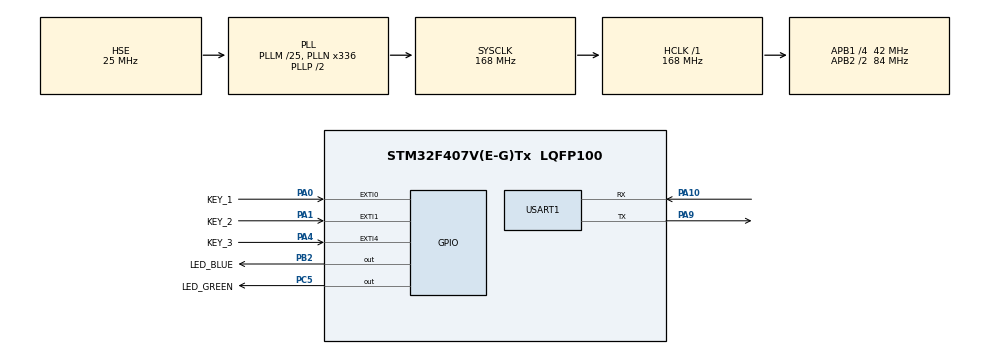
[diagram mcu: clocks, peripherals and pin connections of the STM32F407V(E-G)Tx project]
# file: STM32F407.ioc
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Mcu.Family=STM32F4
Mcu.Name=STM32F407V(E-G)Tx
Mcu.Package=LQFP100
NVIC.EXTI0_IRQn=true\:0\:0\:false\:false\:true\:true\:true\:true
NVIC.EXTI1_IRQn=true\:0\:0\:false\:false\:true\:true\:true\:true
NVIC.EXTI4_IRQn=true\:0\:0\:false\:false\:true\:true\:true\:true
NVIC.PriorityGroup=NVIC_PRIORITYGROUP_4
PA0-WKUP.GPIO_Label=KEY_1
PA0-WKUP.GPIO_ModeDefaultEXTI=GPIO_MODE_IT_RISING
PA0-WKUP.GPIO_PuPd=GPIO_PULLDOWN
PA0-WKUP.Signal=GPXTI0
PA1.GPIO_Label=KEY_2
PA1.GPIO_ModeDefaultEXTI=GPIO_MODE_IT_FALLING
PA1.GPIO_PuPd=GPIO_PULLUP
PA1.Signal=GPXTI1
PA10.Mode=Asynchronous
PA10.Signal=USART1_RX
PA13.Mode=Serial_Wire
PA13.Signal=SYS_JTMS-SWDIO
PA14.Mode=Serial_Wire
PA14.Signal=SYS_JTCK-SWCLK
PA4.GPIO_Label=KEY_3
PA4.GPIO_ModeDefaultEXTI=GPIO_MODE_IT_FALLING
PA4.GPIO_PuPd=GPIO_PULLUP
PA4.Signal=GPXTI4
PA9.Mode=Asynchronous
PA9.Signal=USART1_TX
PB2.GPIO_Label=LED_BLUE
PB2.Signal=GPIO_Output
PB8.Signal=CAN1_RX
PB9.Signal=CAN1_TX
PC13-ANTI_TAMP.Signal=RTC_AF1
PC14-OSC32_IN.Mode=LSE-External-Oscillator
PC14-OSC32_IN.Signal=RCC_OSC32_IN
PC15-OSC32_OUT.Mode=LSE-External-Oscillator
PC15-OSC32_OUT.Signal=RCC_OSC32_OUT
PC5.GPIO_Label=LED_GREEN
PC5.Signal=GPIO_Output
PH0-OSC_IN.Mode=HSE-External-Oscillator
PH0-OSC_IN.Signal=RCC_OSC_IN
PH1-OSC_OUT.Mode=HSE-External-Oscillator
PH1-OSC_OUT.Signal=RCC_OSC_OUT
ProjectManager.HeapSize=0x200
ProjectManager.StackSize=0x1000
ProjectManager.TargetToolchain=MDK-ARM V5.32
RCC.48MHZClocksFreq_Value=84000000
RCC.AHBFreq_Value=168000000
RCC.APB1CLKDivider=RCC_HCLK_DIV4
RCC.APB1Freq_Value=42000000
RCC.APB1TimFreq_Value=84000000
RCC.APB2CLKDivider=RCC_HCLK_DIV2
RCC.APB2Freq_Value=84000000
RCC.APB2TimFreq_Value=168000000
RCC.CortexFreq_Value=168000000
RCC.HCLKFreq_Value=168000000
RCC.HSE_VALUE=25000000
RCC.HSI_VALUE=16000000
RCC.PLLM=25
RCC.PLLN=336
RCC.PLLSourceVirtual=RCC_PLLSOURCE_HSE
RCC.RCC_RTC_Clock_SourceVirtual=RCC_RTCCLKSOURCE_LSE
RCC.RCC_RTC_Clock_Source_FROM_HSE=RCC_RTCCLKSOURCE_HSE_DIV25
RCC.SYSCLKFreq_VALUE=168000000
RCC.SYSCLKSource=RCC_SYSCLKSOURCE_PLLCLK
RCC.VCOOutputFreq_Value=336000000
USART1.VirtualMode=VM_ASYNC
VP_RTC_VS_RTC_Activate.Mode=RTC_Enabled
VP_RTC_VS_RTC_Calendar.Mode=RTC_Calendar
board=custom

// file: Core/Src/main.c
/* USER CODE BEGIN Header */
/***********************************************************************************************************************************
 ** 【代码编写】  魔女开发板团队
 ** 【淘    宝】  魔女开发板       https://demoboard.taobao.com
 ***********************************************************************************************************************************
 ** 【实验名称】  STM32F407 RTC实时时钟 —— 日历设置 + 闹钟配置 + 串口时间校准
 **
 ** 【适用平台】  STM32F407 + keil5 + HAL库
 **
 ** 【 CubeMX 】  1- 开启RTC，启用LSE外部晶振（32.768kHz）；
 **               2- 开启USART1，用于调试打印与时间字符串接收；
 **
 ** 【功能说明】  本工程实现 RTC 完整功能：
 **               1- 支持手动设置年月日时分秒星期，带参数合法性校验；
 **               2- 支持串口发送固定格式时间字符串，自动解析并更新RTC；
 **               3- 每秒自动打印当前时间、日期、星期；
 **               4- 按键中断触发，可扩展闹钟、低功耗唤醒功能；
 **
 ** 【时间格式】  发送格式示例：2026年03月05日15时45分00秒星期四
 **               严格按照：年-月-日-时-分-秒-星期 顺序发送
 **
 ** 【代码使用】  1- 上电后自动打印当前时间；
 **               2- 串口助手发送时间字符串，自动校准RTC；
 **               3- LED(PC5) 500ms闪烁一次，表示系统正常运行；
 **               4- 按键KEY1/KEY2/KEY3触发中断，可自定义功能；
 **
 ** 【划 重 点】  1- RTC读写必须遵循：先写时间 → 后写日期；
 **               2- RTC读取必须遵循：先读时间 → 后读日期；
 **               3- CubeMX默认年份基准为2000年，使用时需偏移计算；
 **               4- 串口时间解析严格匹配格式，错一个字符都会解析失败；
 **               5- LSE晶振是RTC精准计时的关键，务必开启外部低速晶振；
 **
 *******************************************************************************/
/* USER CODE END Header */
#include "main.h"
#include "rtc.h"
#include "usart.h"
#include "gpio.h"

/* USER CODE BEGIN Includes */

#include "bsp_UART.h"            // 串口通信底层驱动文件; 已重写好初始化、收发，调用函数即可使用串口

/* USER CODE END Includes */

void SystemClock_Config(void);

/* USER CODE BEGIN 0 */

/******************************************************************************
 * 函  数： RTC_SetNewData
 * 功  能： 设置RTC的时间和日期（严格遵循“先时间后日期”的操作顺序）
 * 说  明： 1. 操作前需解锁后备域；
 *          2. CubeMX默认以2000年为RTC年份基准，需做偏移处理；
 *          3. 中国不实行夏令时，相关参数固定为NONE；
 * 参  数： uint16_t  year    实际年份（2000-2127，超出范围则报错）
 *          uint8_t   month   月份（1-12）
 *          uint8_t   date    日期（1-31）
 *          uint8_t   hours   小时（0-23，24小时制）
 *          uint8_t   minutes 分钟（0-59）
 *          uint8_t   seconds 秒数（0-59）
 *          uint8_t   weekday 星期（1=周一，2=周二，…，7=周日）
 * 返回值： 无
 ******************************************************************************/
void RTC_SetNewData(uint16_t year, uint8_t month, uint8_t date, uint8_t hours, uint8_t minutes, uint8_t seconds, uint8_t weekday)
{
    /* 定义RTC时间、日期结构体 */
    RTC_TimeTypeDef sTime = {0};                                     // 时间结构体 (时/分/秒)
    RTC_DateTypeDef sDate = {0};                                     // 日期结构体 (年/月/日/星期)
    /* 检查参数合法性 */
    if ((year < 2000) || (year > 2127) || (month < 1) || (month > 12) || (date < 1) || (date > 31) ||
            (hours > 23) || (minutes > 59) || (seconds > 59) || (weekday < 1) || (weekday > 7))
    {
        printf("日历配置函数：参数非法，退出本次设置。\r\n");        // 打印 非法参数
        return;                                                      // 非法参数直接退出，不执行后续配置
    }
    /* 配置时间; RTC强制要求：先写时间，后写日期 */
    sTime.Hours = hours;                                             // 时; 注意小时的格式，检查MX_RTC_Init()函数里的HourFormat参数，有24小时、12小时两种格式
    sTime.Minutes = minutes;                                         // 分
    sTime.Seconds = seconds;                                         // 秒
    sTime.DayLightSaving = RTC_DAYLIGHTSAVING_NONE;                  // 关闭夏令时。中国不实行夏令时，因此固定设置为NONE
    sTime.StoreOperation = RTC_STOREOPERATION_RESET;                 // 夏令时配套参数，固定为RESET
    if (HAL_RTC_SetTime(&hrtc, &sTime, RTC_FORMAT_BIN) != HAL_OK)    // 设置时间; RTC要求：先设置时间（必须顺序）
    {
        printf("RTC时间写入失败! \n");
        return;                                                      // 直接退出，不执行后续配置
    }
    /* 配置日期; 必须在时间写入后执行 */
    sDate.WeekDay = weekday;                                         // 星期：1-一、2-二、3-三、4-四、5-五、6-六、7-日
    sDate.Month = month;                                             // 月
    sDate.Date = date;                                               // 日
    sDate.Year = year - 2000;                                        // 年份偏移; CubeMX默认2000为基准, 需减去2000
    if (HAL_RTC_SetDate(&hrtc, &sDate, RTC_FORMAT_BIN) != HAL_OK)    // RTC要求：后设置日期（必须顺序）
    {
        printf("RTC日期写入失败! \n");
        return;                                                      // 直接退出，不执行后续配置
    }
    /* 写入标记值到备份寄存器，标记已配置过日历 */
    HAL_RTCEx_BKUPWrite(&hrtc, RTC_BKP_DR1, 0x01);                   // 备份寄存器1写入标志值。用于下次上电时判断是否已设置日历; 网上很多示例会用类似0x5A5A的值，原理是一样的，但0x5A5A容易被误解有特殊作用
    /* 打印提示 */
    printf("\nRTC日历数据写入成功！\r\n");                           // 打印 提示
}

/******************************************************************************
 * 函  数： RTC_ParseTimeString
 * 功  能： 解析固定格式的时间字符串，提取有效数据并更新RTC时间
 * 格  式： "YYYY年MM月DD日HH时MM分SS秒星期X"（如：2026年02月04日19时11分30秒星期三）
 * 约  定： 1. 字符串无空格、无换行，字段顺序/单位不可修改；
 *          2. 年4位、月/日/时/分/秒各2位，星期为中文单字（一/二/…/日）；
 *          3. 星期映射：一=1、二=2、三=3、四=4、五=5、六=6、日=7；
 * 参  数： const char* timeStr  待解析的时间字符串（串口接收的原始数据）
 * 返回值： 无
 * 异常处理：空指针/格式错误/星期非法 → 触发提示并退出，不执行更新
 ******************************************************************************/
void RTC_ParseTimeString(const char* timeStr)
{
    /* 空指针校验，避免程序崩溃 */
    if (timeStr == NULL)
    {
        printf("解释失败：输入字符串为空！ \r\n");      // 空字符串直接退出
        return;
    }
    /* 定义变量存储解析结果 */
    uint16_t year = 0;        // 年（4位，如2026）
    uint8_t month = 0;        // 月（2位，01-12）
    uint8_t date = 0;         // 日（2位，01-31）
    uint8_t hours = 0;        // 时（2位，00-23）
    uint8_t minutes = 0;      // 分（2位，00-59）
    uint8_t seconds = 0;      // 秒（2位，00-59）
    uint8_t weekday = 0;      // 星期（1-7，对应一-日）
    char weekStr[2] = {0};    // 存储星期中文单字
    /* 按固定格式解析字符串 */
    // %4hu：匹配4位无符号短整型（对应uint16_t）
    // %2hhu：匹配2位无符号字符（对应uint8_t）
    // %2s：匹配星期中文单字（适配GBK/UTF-8编码）
    int parseRet = sscanf(timeStr, "%4hu年%2hhu月%2hhu日%2hhu时%2hhu分%2hhu秒星期%2s",
                          &year, &month, &date, &hours, &minutes, &seconds, weekStr);
    /* 解析结果校验（正常应提取7个字段，否则格式不匹配） */
    if (parseRet != 7)
    {
        printf("解释失败：字符串格式错误! 请按示例格式发送：\n");  // 格式不匹配，进入错误处理
        printf("2026年03月05日15时45分00秒星期四 \n\n");           // 字符串格式，必须严格匹配
        return;
    }
    /* 中文星期转换为数字(匹配RTC_SetNewData参数) */
    if      (strcmp(weekStr, "一") == 0)    weekday = 1;           // 中文“一”对应RTC星期1（周一）
    else if (strcmp(weekStr, "二") == 0)    weekday = 2;           // 中文“二”对应RTC星期2（周二）
    else if (strcmp(weekStr, "三") == 0)    weekday = 3;           // 中文“三”对应RTC星期3（周三）
    else if (strcmp(weekStr, "四") == 0)    weekday = 4;           // 中文“四”对应RTC星期4（周四）
    else if (strcmp(weekStr, "五") == 0)    weekday = 5;           // 中文“五”对应RTC星期5（周五）
    else if (strcmp(weekStr, "六") == 0)    weekday = 6;           // 中文“六”对应RTC星期6（周六）
    else if (strcmp(weekStr, "日") == 0)    weekday = 7;           // 中文“日”对应RTC星期7（周日）
    else                                                           // 未知星期字符，解析失败
    {
        printf("\n解释失败，星期格式错误！\r\n ");
        return;
    }
    /* 解析成功，调用函数更新RTC时间 */
    RTC_SetNewData(year, month, date, hours, minutes, seconds, weekday);
}

/* USER CODE END 0 */

int main(void)
{
    /* USER CODE BEGIN 1 */

    /* 说明：
     * 1. 不要删除CubeMX生成的注释行（形如 USER CODE BEGIN/END），这些注释用于代码重新生成时的定位
     * 2. 所有用户自定义代码必须写在对应的BEGIN与END注释行之间，否则重新生成时会被覆盖
     * 3. 主要初始化函数说明：
     *    - HAL_Init()            初始化HAL库，配置中断优先级、系统时基等
     *    - SystemClock_Config()  配置系统时钟
     *    - MX_GPIO_Init()        初始化GPIO引脚（仅包含推挽输出、中断触发等配置）
     *    - 外设功能引脚（如UART、SPI等）的初始化在各自的功能文件中
     */

    /* USER CODE END 1 */

    /* MCU Configuration--------------------------------------------------------*/

    /* Reset of all peripherals, Initializes the Flash interface and the Systick. */
    HAL_Init();

    /* Configure the system clock */
    SystemClock_Config();

    /* Initialize all configured peripherals */
    MX_GPIO_Init();
    MX_USART1_UART_Init();
    MX_RTC_Init();
    /* USER CODE BEGIN 2 */
    /* 用户代码，必须写在配对的BEGIN与END之间 */

    UART1_Init(115200);                                  // 初始化 串口1; 已写好底层，调用h中的函数即可使用; 引脚(PA9 +PA10)、波特率-None-8-1; 如果使用CubeMX配置，请使用前述引脚，但，不要在MX上进行中断及DMA配置，否则冲突

    /* USER CODE END 2 */

    /* Infinite loop */
    while (1)
    {

        /* USER CODE BEGIN 3 */
        /* 用户代码，必须写在配对的BEGIN与END之间 */

        /** 检查UART1是否收到串口助手发来的数据，用于更新日期时间 **/
        if (UART1_GetRxNum())                                                            // 判断USART1是否获取到新一帧数据：函数返回的接收字节数，大于0，即为收到新一帧数据
        {
            /* 获取数据 */
            uint8_t *rxData = UART1_GetRxData();                                         // 获取数据的地址
            uint16_t rxNum = UART1_GetRxNum();                                           // 获取数据的字节数
            /* 把收到的数据，printf到串口助手观察*/
            printf("\r<<<<< USART1 收到一帧数据 \r");                                    // 提示
            printf("字节数：%d \r", rxNum);                                              // 显示字节数
            printf("ASCII : %s\r", (char *)rxData);                                      // 显示数据，以ASCII方式显示，即以字符串的方式显示
            printf("\r\r");                                                              // 显示换行
            /* 执行数据分析 */
            RTC_ParseTimeString((const char*) rxData);                                   // 解释日历时间，并更新保存
            /* 清零接收标志 */
            UART1_ClearRx();                                                             // 重要：清0接收标志，即清0接收到的字节数; 每次处理完成数据，就要调用这个函数清0
        }

        /** 每隔500ms，闪烁一次绿色LED **/
        static uint32_t lastTime_500ms = 0;                                              // 定义静态变量，用于记录上次执行这个任务的时间点(单位：毫秒)
        if (HAL_GetTick() - lastTime_500ms >= 500)                                       // 检查当前时间距离上次执行是否已经过了500ms; HAL_GetTick()是获取启动后经过的毫秒数;
        {
            /* 执行任务 */
            HAL_GPIO_TogglePin(GPIOC, GPIO_PIN_5);                                       // 执行动作。控制绿色LED引脚电平翻转(PC5); 规律地闪烁LED，方便外部观察系统是否正常运行
            /* 更新任务时间戳 */
            lastTime_500ms =   HAL_GetTick();                                            // 更新本任务最后执行的时间值
        }

        /** 每隔1000ms，读取一次日历数据，并打印 **/
        static uint32_t lastTime_1000ms = 0;                                             // 定义静态变量，用于记录上次执行这个任务的时间点(单位：毫秒)
        if (HAL_GetTick() - lastTime_1000ms >= 1000)                                     // 检查当前时间距离上次执行是否已经过了1000ms; HAL_GetTick()是获取启动后经过的毫秒数;
        {
            /* 读取数据; 重点, 必须先读时间、后读日期 否则数据错乱 */
            RTC_TimeTypeDef time = { 0 };                                                // 时间 时-分-秒
            RTC_DateTypeDef data = { 0 };                                                // 日期 年-月-日
            HAL_RTC_GetTime(&hrtc, &time, RTC_FORMAT_BIN);                               // 读取时间数据; 必须先读时间后读日期; 写操作时，也必须先写时间后写日期，否则数据可能错乱
            HAL_RTC_GetDate(&hrtc, &data, RTC_FORMAT_BIN);                               // 读取日期数据; 必须先读时间后读日期; 写操作时，也必须先写时间后写日期，否则数据可能错乱
            /* 打印数据 */
            printf("%04d年%02d月%02d日  ", 2000 + data.Year, data.Month, data.Date);     // 打印 日期
            printf("%02d:%02d:%02d  ", time.Hours, time.Minutes, time.Seconds);          // 打印 时间
            switch (data.WeekDay)                                                        // 打印 星期
            {
                case 1:
                    printf("星期一");
                    break;
                case 2:
                    printf("星期二");
                    break;
                case 3:
                    printf("星期三");
                    break;
                case 4:
                    printf("星期四");
                    break;
                case 5:
                    printf("星期五");
                    break;
                case 6:
                    printf("星期六");
                    break;
                case 7:
                    printf("星期日");
                    break;
                default:
                    printf("星期错误");
                    break;
            }
            printf("  \r\n");                                                            // 打印 换行
            /* 更新任务时间戳 */
            lastTime_1000ms = HAL_GetTick();                                             // 更新时间戳：将当前时间设为新基准，确保下一次周期准确从此时开始计算
        }

    }

    /* USER CODE END 3 */
}

void SystemClock_Config(void)
{
    RCC_OscInitTypeDef RCC_OscInitStruct = {0};
    RCC_ClkInitTypeDef RCC_ClkInitStruct = {0};

    /** Configure the main internal regulator output voltage
    */
    __HAL_RCC_PWR_CLK_ENABLE();
    __HAL_PWR_VOLTAGESCALING_CONFIG(PWR_REGULATOR_VOLTAGE_SCALE1);

    /** Initializes the RCC Oscillators according to the specified parameters
    * in the RCC_OscInitTypeDef structure.
    */
    RCC_OscInitStruct.OscillatorType = RCC_OSCILLATORTYPE_HSE | RCC_OSCILLATORTYPE_LSE;
    RCC_OscInitStruct.HSEState = RCC_HSE_ON;
    RCC_OscInitStruct.LSEState = RCC_LSE_ON;
    RCC_OscInitStruct.PLL.PLLState = RCC_PLL_ON;
    RCC_OscInitStruct.PLL.PLLSource = RCC_PLLSOURCE_HSE;
    RCC_OscInitStruct.PLL.PLLM = 25;
    RCC_OscInitStruct.PLL.PLLN = 336;
    RCC_OscInitStruct.PLL.PLLP = RCC_PLLP_DIV2;
    RCC_OscInitStruct.PLL.PLLQ = 4;
    if (HAL_RCC_OscConfig(&RCC_OscInitStruct) != HAL_OK)
    {
        Error_Handler();
    }

    /** Initializes the CPU, AHB and APB buses clocks
    */
    RCC_ClkInitStruct.ClockType = RCC_CLOCKTYPE_HCLK | RCC_CLOCKTYPE_SYSCLK
                                  | RCC_CLOCKTYPE_PCLK1 | RCC_CLOCKTYPE_PCLK2;
    RCC_ClkInitStruct.SYSCLKSource = RCC_SYSCLKSOURCE_PLLCLK;
    RCC_ClkInitStruct.AHBCLKDivider = RCC_SYSCLK_DIV1;
    RCC_ClkInitStruct.APB1CLKDivider = RCC_HCLK_DIV4;
    RCC_ClkInitStruct.APB2CLKDivider = RCC_HCLK_DIV2;

    if (HAL_RCC_ClockConfig(&RCC_ClkInitStruct, FLASH_LATENCY_5) != HAL_OK)
    {
        Error_Handler();
    }
}

/* USER CODE BEGIN 4 */
/* 所有用户代码，必须写在配对的BEGIN与END之间 */

/******************************************************************************
 * 函  数： HAL_GPIO_EXTI_Callback
 * 功  能： EXTI中断回调函数
 * 参  数： uint16_t  GPIO_Pin    引脚编号，参数范围：GPIO_Pin_0 ~ GPIO_Pin_15
 * 返回值： 无
 * 备  注： CubeMX生成的代码在思维和风格上，与使用标准库编写时有很大的区别：
 *          1：这个是回调函数，不是中断服务函数。完整的调用：EXTIx_IRQHandler() > HAL_GPIO_EXTI_IRQHandler(GPIO_PIN_x) > HAL_GPIO_EXTI_Callback(GPIO_PIN_x)
 *          2：必须使用这个函数名称，因为它在CubeMX生成时，已被写好了各种函数调用、函数弱定义(在stm32xx_hal_gpio.c的底部); 不建议在原弱定义中增添代码，而是重写本函数
 *          3：中断条件触发后，本函数被自动调用，无需进行人工调用; 也无需进行中断标志的清理，因为HAL_GPIO_EXTI_IRQHandler()函数中已有操作;
 *          4：生成的所有EXTI中断服务函数，都统一调用这个函数，以引脚编号作参数
 *          5：判断参数传进来的引脚编号，即可知道是哪个外部中断线产生的中断信号
******************************************************************************/
void HAL_GPIO_EXTI_Callback(uint16_t GPIO_Pin)
{
    if (GPIO_Pin == KEY_1_Pin)                                  // 按键1 产生的中断信号：KEY_1、PA0、闲时下拉、按下时高电平、上升沿触发
    {
        HAL_GPIO_TogglePin(GPIOB, GPIO_PIN_2);                  // 反转蓝色LED灯
        printf("KEY_1 按下\r");                                 // 通过串口助手输出提示
    }

    if (GPIO_Pin == KEY_2_Pin)                                  // 按键2 产生的中断信号：KEY_2、PA1、闲时上拉、按下时低电平、下降沿触发
    {
        HAL_GPIO_TogglePin(GPIOB, GPIO_PIN_2);                  // 反转蓝色LED灯
        printf("KEY_2 按下\r");                                 // 通过串口助手输出提示
    }

    if (GPIO_Pin == KEY_3_Pin)                                  // 按键3 产生的中断信号：KEY_3、PA4、闲时上拉、按下低高电平、下降沿触发
    {
        HAL_GPIO_TogglePin(GPIOB, GPIO_PIN_2);                  // 反转蓝色LED灯
        printf("KEY_3 按下\r");                                 // 通过串口助手输出提示
    }

}

/* USER CODE END 4 */

void Error_Handler(void)
{
    __disable_irq();
    while (1)
    {
    }
}
